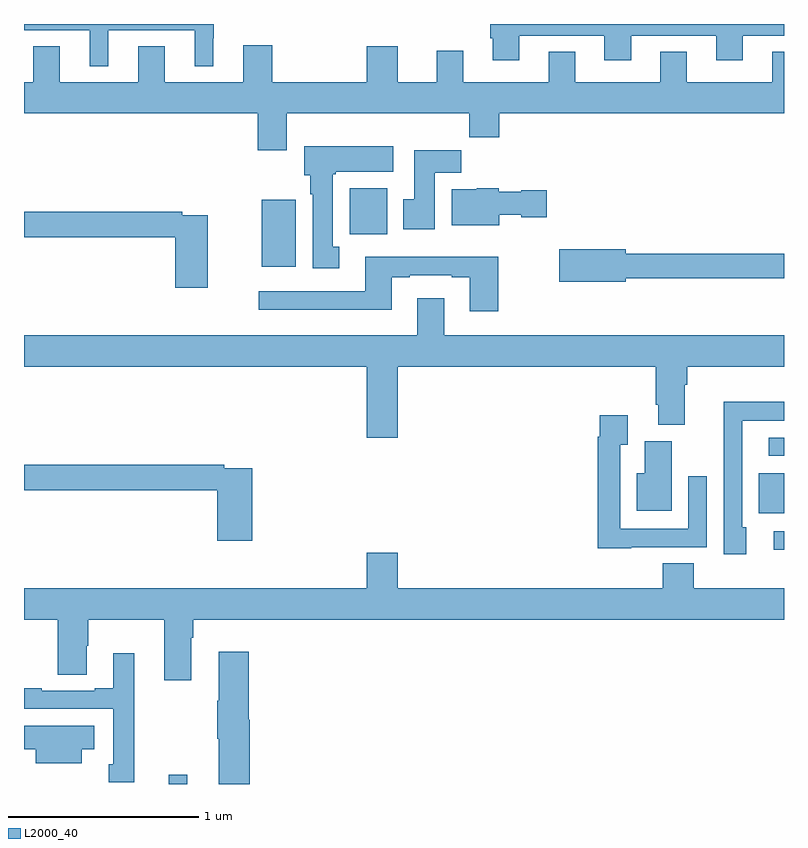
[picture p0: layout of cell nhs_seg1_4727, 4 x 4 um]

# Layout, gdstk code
import gdstk
lib = gdstk.Library(unit=1e-6, precision=1e-09)
def R(c, l, rs):  # rectangles x0, y0, x1, y1
    for r in rs: c.add(gdstk.rectangle(r[:2], r[2:], *l))
def P(c, l, *ps):  # polygons
    for p in ps: c.add(gdstk.Polygon(p, *l))
L2000_40 = (2000, 40)

nhs_seg1_4727 = lib.new_cell('nhs_seg1_4727')
R(nhs_seg1_4727, L2000_40, [(367.761,552.199,367.858,552.247), (370.947,553.433,371,553.53), (370.868,553.623,371,553.834), (370.92,553.926,371,554.022), (368.252,554.922,368.431,555.274), (368.714,555.092,368.911,555.334)])
P(nhs_seg1_4727, L2000_40, [(367.444,556.167),(367.898,556.167),(367.898,555.977),(367.996,555.977),(367.996,556.124),(367.998,556.124),(367.998,556.199),(367,556.199),(367,556.167),(367.346,556.167),(367.346,555.977),(367.444,555.977)],
  [(369.607,556.137),(370.055,556.137),(370.055,556.008),(370.195,556.008),(370.195,556.137),(370.643,556.137),(370.643,556.008),(370.783,556.008),(370.783,556.137),(371,556.137),(371,556.199),(369.455,556.199),(369.455,556.125),(369.467,556.125),(369.467,556.008),(369.607,556.008)],
  [(368.383,555.728),(369.343,555.728),(369.343,555.604),(369.5,555.604),(369.5,555.728),(371,555.728),(371,556.052),(370.937,556.052),(370.937,555.892),(370.489,555.892),(370.489,556.052),(370.349,556.052),(370.349,555.892),(369.901,555.892),(369.901,556.052),(369.761,556.052),(369.761,555.892),(369.313,555.892),(369.313,556.057),(369.173,556.057),(369.173,555.892),(368.968,555.892),(368.968,556.081),(368.804,556.081),(368.804,555.892),(368.306,555.892),(368.306,556.087),(368.153,556.087),(368.153,555.892),(367.741,555.892),(367.741,556.082),(367.601,556.082),(367.601,555.892),(367.189,555.892),(367.189,556.082),(367.049,556.082),(367.049,555.892),(367,555.892),(367,555.728),(368.231,555.728),(368.231,555.534),(368.383,555.534)],
  [(368.659,555.026),(368.626,555.026),(368.626,555.409),(368.64,555.409),(368.64,555.422),(368.944,555.422),(368.944,555.556),(368.474,555.556),(368.474,555.402),(368.506,555.402),(368.506,555.302),(368.519,555.302),(368.519,554.913),(368.659,554.913)],
  [(369.163,555.416),(369.302,555.416),(369.302,555.535),(369.053,555.535),(369.053,555.276),(368.996,555.276),(368.996,555.12),(369.163,555.12)],
  [(369.502,555.194),(369.618,555.194),(369.618,555.182),(369.751,555.182),(369.751,555.324),(369.618,555.324),(369.618,555.316),(369.498,555.316),(369.498,555.334),(369.384,555.334),(369.384,555.328),(369.251,555.328),(369.251,555.14),(369.502,555.14)],
  [(367.966,555.192),(367.832,555.192),(367.832,555.212),(367,555.212),(367,555.076),(367.796,555.076),(367.796,554.811),(367.966,554.811)],
  [(370.168,554.862),(371,554.862),(371,554.99),(370.168,554.99),(370.168,555.014),(369.816,555.014),(369.816,554.843),(370.168,554.843)],
  [(369.495,554.974),(368.795,554.974),(368.795,554.793),(368.235,554.793),(368.235,554.696),(368.935,554.696),(368.935,554.865),(369.031,554.865),(369.031,554.877),(369.251,554.877),(369.251,554.865),(369.347,554.865),(369.347,554.688),(369.495,554.688)],
  [(368.968,554.396),(370.325,554.396),(370.325,554.194),(370.337,554.194),(370.337,554.089),(370.477,554.089),(370.477,554.3),(370.49,554.3),(370.49,554.396),(371,554.396),(371,554.56),(369.211,554.56),(369.211,554.755),(369.071,554.755),(369.071,554.56),(367,554.56),(367,554.396),(368.804,554.396),(368.804,554.022),(368.968,554.022)],
  [(370.801,553.551),(370.779,553.551),(370.779,554.112),(371,554.112),(371,554.21),(370.682,554.21),(370.682,553.906),(370.683,553.906),(370.683,553.407),(370.801,553.407)],
  [(370.197,553.446),(370.593,553.446),(370.593,553.819),(370.497,553.819),(370.497,553.542),(370.137,553.542),(370.137,553.984),(370.177,553.984),(370.177,554.14),(370.029,554.14),(370.029,554.027),(370.021,554.027),(370.021,553.439),(370.197,553.439)],
  [(370.408,554.004),(370.268,554.004),(370.268,553.834),(370.226,553.834),(370.226,553.637),(370.408,553.637)],
  [(368.201,553.86),(368.054,553.86),(368.054,553.88),(367,553.88),(367,553.744),(368.018,553.744),(368.018,553.479),(368.201,553.479)],
  [(367.879,552.968),(367.892,552.968),(367.892,553.064),(371,553.064),(371,553.228),(370.526,553.228),(370.526,553.361),(370.361,553.361),(370.361,553.228),(368.968,553.228),(368.968,553.417),(368.804,553.417),(368.804,553.228),(367,553.228),(367,553.064),(367.178,553.064),(367.178,552.775),(367.33,552.775),(367.33,552.926),(367.338,552.926),(367.338,553.064),(367.739,553.064),(367.739,552.744),(367.879,552.744)],
  [(368.188,552.537),(368.183,552.537),(368.183,552.895),(368.024,552.895),(368.024,552.637),(368.017,552.637),(368.017,552.437),(368.024,552.437),(368.024,552.199),(368.188,552.199)],
  [(367.579,552.886),(367.469,552.886),(367.469,552.703),(367.373,552.703),(367.373,552.69),(367.094,552.69),(367.094,552.703),(367,552.703),(367,552.594),(367.47,552.594),(367.47,552.303),(367.445,552.303),(367.445,552.209),(367.579,552.209)],
  [(367.303,552.383),(367.369,552.383),(367.369,552.505),(367,552.505),(367,552.383),(367.061,552.383),(367.061,552.308),(367.303,552.308)])

lib.write_gds('nhs_seg1_4727.gds')
